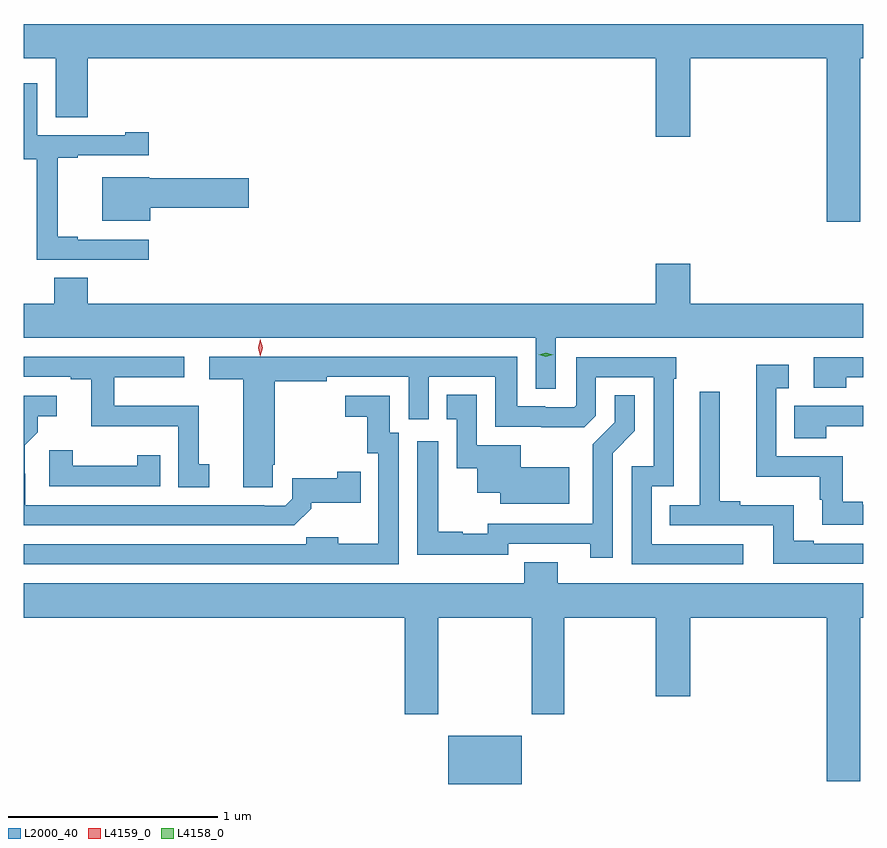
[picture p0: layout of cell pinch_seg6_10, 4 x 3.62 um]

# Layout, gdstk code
import gdstk
lib = gdstk.Library(unit=1e-6, precision=1e-09)
def R(c, l, rs):  # rectangles x0, y0, x1, y1
    for r in rs: c.add(gdstk.rectangle(r[:2], r[2:], *l))
def P(c, l, *ps):  # polygons
    for p in ps: c.add(gdstk.Polygon(p, *l))
L2000_40 = (2000, 40)
L4158_0 = (4158, 0)
L4159_0 = (4159, 0)

pinch_seg6_10 = lib.new_cell('pinch_seg6_10')
R(pinch_seg6_10, L2000_40, [(1063.118,963.859,1063.468,964.09)])
P(pinch_seg6_10, L2000_40, [(1065.081,967.316),(1065.096,967.316),(1065.096,967.48),(1061.096,967.48),(1061.096,967.316),(1061.249,967.316),(1061.249,967.036),(1061.402,967.036),(1061.402,967.316),(1064.108,967.316),(1064.108,966.942),(1064.272,966.942),(1064.272,967.316),(1064.921,967.316),(1064.921,966.537),(1065.081,966.537)],
  [(1061.692,966.453),(1061.353,966.453),(1061.353,966.466),(1061.258,966.466),(1061.258,966.843),(1061.353,966.843),(1061.353,966.855),(1061.692,966.855),(1061.692,966.964),(1061.579,966.964),(1061.579,966.951),(1061.16,966.951),(1061.16,967.197),(1061.096,967.197),(1061.096,966.835),(1061.158,966.835),(1061.158,966.357),(1061.692,966.357)],
  [(1061.698,966.604),(1062.169,966.604),(1062.169,966.746),(1061.694,966.746),(1061.694,966.751),(1061.471,966.751),(1061.471,966.542),(1061.698,966.542)],
  [(1063.632,965.984),(1065.096,965.984),(1065.096,966.148),(1064.272,966.148),(1064.272,966.337),(1064.108,966.337),(1064.108,966.148),(1061.402,966.148),(1061.402,966.272),(1061.242,966.272),(1061.242,966.148),(1061.096,966.148),(1061.096,965.984),(1063.536,965.984),(1063.536,965.743),(1063.632,965.743)],
  [(1064.524,965.001),(1064.088,965.001),(1064.088,965.277),(1064.193,965.277),(1064.193,965.789),(1064.206,965.789),(1064.206,965.892),(1063.728,965.892),(1063.728,965.664),(1063.719,965.655),(1063.581,965.655),(1063.581,965.658),(1063.447,965.658),(1063.447,965.895),(1061.979,965.895),(1061.979,965.787),(1062.143,965.787),(1062.143,965.272),(1062.283,965.272),(1062.283,965.38),(1062.291,965.38),(1062.291,965.779),(1062.539,965.779),(1062.539,965.799),(1062.93,965.799),(1062.93,965.598),(1063.026,965.598),(1063.026,965.799),(1063.343,965.799),(1063.343,965.562),(1063.561,965.562),(1063.561,965.558),(1063.766,965.558),(1063.821,965.613),(1063.821,965.796),(1064.097,965.796),(1064.097,965.373),(1063.992,965.373),(1063.992,964.905),(1064.524,964.905)],
  [(1061.98,965.383),(1061.93,965.383),(1061.93,965.662),(1061.527,965.662),(1061.527,965.798),(1061.86,965.798),(1061.86,965.895),(1061.096,965.895),(1061.096,965.799),(1061.321,965.799),(1061.321,965.787),(1061.417,965.787),(1061.417,965.564),(1061.832,965.564),(1061.832,965.272),(1061.98,965.272)],
  [(1065.015,965.796),(1065.096,965.796),(1065.096,965.892),(1064.859,965.892),(1064.859,965.746),(1065.015,965.746)],
  [(1065.096,965.19),(1065.094,965.19),(1065.094,965.203),(1064.999,965.203),(1064.999,965.421),(1064.682,965.421),(1064.682,965.744),(1064.74,965.744),(1064.74,965.857),(1064.585,965.857),(1064.585,965.324),(1064.889,965.324),(1064.889,965.213),(1064.9,965.213),(1064.9,965.094),(1065.096,965.094)],
  [(1065.096,965.004),(1064.86,965.004),(1064.86,965.017),(1064.764,965.017),(1064.764,965.188),(1064.509,965.188),(1064.509,965.207),(1064.413,965.207),(1064.413,965.728),(1064.316,965.728),(1064.316,965.187),(1064.173,965.187),(1064.173,965.091),(1064.666,965.091),(1064.666,964.908),(1065.096,964.908)],
  [(1063.696,965.368),(1063.465,965.368),(1063.465,965.473),(1063.254,965.473),(1063.254,965.714),(1063.111,965.714),(1063.111,965.596),(1063.158,965.596),(1063.158,965.364),(1063.256,965.364),(1063.256,965.246),(1063.367,965.246),(1063.367,965.195),(1063.696,965.195)],
  [(1063.902,965.436),(1064.007,965.541),(1064.007,965.711),(1063.911,965.711),(1063.911,965.583),(1063.806,965.478),(1063.806,965.1),(1063.308,965.1),(1063.308,965.051),(1063.188,965.051),(1063.188,965.062),(1063.07,965.062),(1063.07,965.491),(1062.972,965.491),(1062.972,964.952),(1063.404,964.952),(1063.404,965.004),(1063.794,965.004),(1063.794,964.938),(1063.902,964.938)],
  [(1062.465,965.171),(1062.465,965.198),(1062.701,965.198),(1062.701,965.347),(1062.589,965.347),(1062.589,965.315),(1062.375,965.315),(1062.375,965.217),(1062.342,965.184),(1062.242,965.184),(1062.242,965.187),(1061.104,965.187),(1061.104,965.336),(1061.1,965.336),(1061.1,965.472),(1061.162,965.534),(1061.162,965.612),(1061.254,965.612),(1061.254,965.709),(1061.096,965.709),(1061.096,965.091),(1062.385,965.091)],
  [(1062.882,965.532),(1062.84,965.532),(1062.84,965.709),(1062.627,965.709),(1062.627,965.608),(1062.732,965.608),(1062.732,965.436),(1062.786,965.436),(1062.786,965.003),(1062.595,965.003),(1062.595,965.034),(1062.443,965.034),(1062.443,965.001),(1061.096,965.001),(1061.096,964.905),(1062.882,964.905)],
  [(1064.919,965.564),(1065.096,965.564),(1065.096,965.661),(1064.767,965.661),(1064.767,965.506),(1064.919,965.506)],
  [(1061.747,965.425),(1061.636,965.425),(1061.636,965.375),(1061.33,965.375),(1061.33,965.449),(1061.217,965.449),(1061.217,965.277),(1061.747,965.277)],
  [(1065.081,964.652),(1065.096,964.652),(1065.096,964.816),(1063.641,964.816),(1063.641,964.915),(1063.481,964.915),(1063.481,964.816),(1061.096,964.816),(1061.096,964.652),(1062.911,964.652),(1062.911,964.191),(1063.071,964.191),(1063.071,964.652),(1063.516,964.652),(1063.516,964.191),(1063.671,964.191),(1063.671,964.652),(1064.108,964.652),(1064.108,964.278),(1064.272,964.278),(1064.272,964.652),(1064.921,964.652),(1064.921,963.873),(1065.081,963.873)])
P(pinch_seg6_10, L4158_0, [(1063.584,965.894),(1063.549,965.903),(1063.548,965.903),(1063.549,965.904),(1063.584,965.914),(1063.62,965.904),(1063.62,965.904),(1063.62,965.904)])
P(pinch_seg6_10, L4159_0, [(1062.224,965.897),(1062.224,965.898),(1062.214,965.938),(1062.224,965.979),(1062.224,965.979),(1062.224,965.979),(1062.234,965.938),(1062.224,965.898)])

lib.write_gds('pinch_seg6_10.gds')
